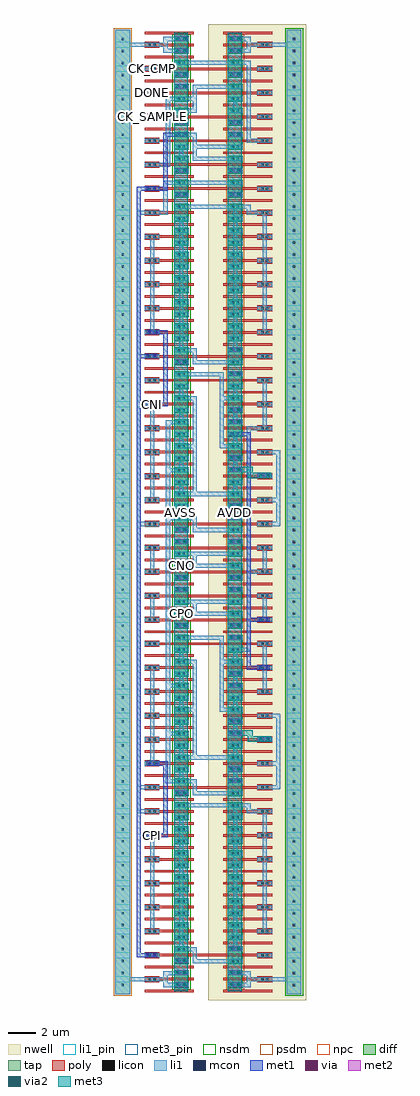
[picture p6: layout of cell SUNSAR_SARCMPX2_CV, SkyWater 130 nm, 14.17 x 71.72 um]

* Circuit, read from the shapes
.subckt SUNSAR_SARCMPX2_CV AVDD AVSS CK_CMP CK_SAMPLE CNI CNO CPI CPO DONE
XM1 AVSS AVSS AVSS AVSS sky130_fd_pr__nfet_01v8 w=1.08 l=0.18 m=2
XM2 SUNSAR_SARKICKHX1_CV_4/SUNSAR_NCHDL_10/D SUNSAR_IVX1_CV_22/A AVSS AVSS sky130_fd_pr__nfet_01v8 w=1.08 l=0.18
XM3 SUNSAR_SARKICKHX1_CV_4/SUNSAR_NCHDL_10/D CPI SUNSAR_SARKICKHX1_CV_4/SUNSAR_NCHDL_10/D AVSS sky130_fd_pr__nfet_01v8 w=1.08 l=0.18 m=5
XM4 AVDD SUNSAR_SARCMPHX1_CV_2/CK SUNSAR_SARKICKHX1_CV_4/SUNSAR_NCHDL_10/D AVSS sky130_fd_pr__nfet_01v8 w=1.08 l=0.18
XM5 SUNSAR_SARCMPHX1_CV_2/N1 SUNSAR_SARCMPHX1_CV_2/CK AVSS AVSS sky130_fd_pr__nfet_01v8 w=1.08 l=0.18 m=2
XM6 SUNSAR_SARCMPHX1_CV_2/N2 CPI SUNSAR_SARCMPHX1_CV_2/N1 AVSS sky130_fd_pr__nfet_01v8 w=1.08 l=0.18 m=5
XM7 SUNSAR_IVX2_CV_1/A SUNSAR_IVX2_CV_0/A SUNSAR_SARCMPHX1_CV_2/N2 AVSS sky130_fd_pr__nfet_01v8 w=1.08 l=0.18
XM8 CPO SUNSAR_IVX2_CV_0/A AVSS AVSS sky130_fd_pr__nfet_01v8 w=1.08 l=0.18 m=2
XM9 CNO SUNSAR_IVX2_CV_1/A AVSS AVSS sky130_fd_pr__nfet_01v8 w=1.08 l=0.18 m=2
XM10 SUNSAR_SARCMPHX1_CV_3/N2 CNI SUNSAR_SARCMPHX1_CV_2/N1 AVSS sky130_fd_pr__nfet_01v8 w=1.08 l=0.18 m=5
XM11 SUNSAR_IVX2_CV_0/A SUNSAR_IVX2_CV_1/A SUNSAR_SARCMPHX1_CV_3/N2 AVSS sky130_fd_pr__nfet_01v8 w=1.08 l=0.18
XM12 SUNSAR_SARKICKHX1_CV_5/SUNSAR_NCHDL_10/D SUNSAR_IVX1_CV_22/A AVSS AVSS sky130_fd_pr__nfet_01v8 w=1.08 l=0.18
XM13 SUNSAR_SARKICKHX1_CV_5/SUNSAR_NCHDL_10/D CNI SUNSAR_SARKICKHX1_CV_5/SUNSAR_NCHDL_10/D AVSS sky130_fd_pr__nfet_01v8 w=1.08 l=0.18 m=5
XM14 AVDD SUNSAR_SARCMPHX1_CV_2/CK SUNSAR_SARKICKHX1_CV_5/SUNSAR_NCHDL_10/D AVSS sky130_fd_pr__nfet_01v8 w=1.08 l=0.18
XM15 SUNSAR_SARCMPHX1_CV_2/CK SUNSAR_IVX1_CV_22/A AVSS AVSS sky130_fd_pr__nfet_01v8 w=1.08 l=0.18
XM16 SUNSAR_NDX1_CV_6/SUNSAR_NCHDL_0/D SUNSAR_NDX1_CV_6/A AVSS AVSS sky130_fd_pr__nfet_01v8 w=1.08 l=0.18
XM17 SUNSAR_IVX1_CV_22/A SUNSAR_NDX1_CV_6/B SUNSAR_NDX1_CV_6/SUNSAR_NCHDL_0/D AVSS sky130_fd_pr__nfet_01v8 w=1.08 l=0.18
XM18 SUNSAR_NDX1_CV_6/A CK_SAMPLE AVSS AVSS sky130_fd_pr__nfet_01v8 w=1.08 l=0.18
XM19 AVSS DONE SUNSAR_NDX1_CV_6/A AVSS sky130_fd_pr__nfet_01v8 w=1.08 l=0.18
XM20 SUNSAR_NDX1_CV_6/B CK_CMP AVSS AVSS sky130_fd_pr__nfet_01v8 w=1.08 l=0.18
XM21 AVDD AVDD AVDD AVDD sky130_fd_pr__pfet_01v8 w=1.08 l=0.18 m=14
XM22 AVDD SUNSAR_IVX1_CV_22/A SUNSAR_SARKICKHX1_CV_4/SUNSAR_NCHDL_10/D AVDD sky130_fd_pr__pfet_01v8 w=1.08 l=0.18
XM23 AVDD SUNSAR_SARCMPHX1_CV_2/CK SUNSAR_SARCMPHX1_CV_2/N1 AVDD sky130_fd_pr__pfet_01v8 w=1.08 l=0.18 m=2
XM24 SUNSAR_SARCMPHX1_CV_2/N2 SUNSAR_SARCMPHX1_CV_2/CK AVDD AVDD sky130_fd_pr__pfet_01v8 w=1.08 l=0.18
XM25 AVDD AVDD SUNSAR_SARCMPHX1_CV_2/N2 AVDD sky130_fd_pr__pfet_01v8 w=1.08 l=0.18
XM26 SUNSAR_IVX2_CV_1/A SUNSAR_SARCMPHX1_CV_2/CK AVDD AVDD sky130_fd_pr__pfet_01v8 w=1.08 l=0.18
XM27 AVDD SUNSAR_IVX2_CV_0/A SUNSAR_IVX2_CV_1/A AVDD sky130_fd_pr__pfet_01v8 w=1.08 l=0.18 m=3
XM28 CPO SUNSAR_IVX2_CV_0/A AVDD AVDD sky130_fd_pr__pfet_01v8 w=1.08 l=0.18 m=2
XM29 CNO SUNSAR_IVX2_CV_1/A AVDD AVDD sky130_fd_pr__pfet_01v8 w=1.08 l=0.18 m=2
XM30 SUNSAR_SARCMPHX1_CV_3/N2 SUNSAR_SARCMPHX1_CV_2/CK AVDD AVDD sky130_fd_pr__pfet_01v8 w=1.08 l=0.18
XM31 AVDD AVDD SUNSAR_SARCMPHX1_CV_3/N2 AVDD sky130_fd_pr__pfet_01v8 w=1.08 l=0.18
XM32 SUNSAR_IVX2_CV_0/A SUNSAR_SARCMPHX1_CV_2/CK AVDD AVDD sky130_fd_pr__pfet_01v8 w=1.08 l=0.18
XM33 AVDD SUNSAR_IVX2_CV_1/A SUNSAR_IVX2_CV_0/A AVDD sky130_fd_pr__pfet_01v8 w=1.08 l=0.18 m=3
XM34 AVDD SUNSAR_IVX1_CV_22/A SUNSAR_SARKICKHX1_CV_5/SUNSAR_NCHDL_10/D AVDD sky130_fd_pr__pfet_01v8 w=1.08 l=0.18
XM35 SUNSAR_SARCMPHX1_CV_2/CK SUNSAR_IVX1_CV_22/A AVDD AVDD sky130_fd_pr__pfet_01v8 w=1.08 l=0.18
XM36 SUNSAR_IVX1_CV_22/A SUNSAR_NDX1_CV_6/A AVDD AVDD sky130_fd_pr__pfet_01v8 w=1.08 l=0.18
XM37 AVDD SUNSAR_NDX1_CV_6/B SUNSAR_IVX1_CV_22/A AVDD sky130_fd_pr__pfet_01v8 w=1.08 l=0.18
XM38 SUNSAR_NRX1_CV_7/SUNSAR_PCHDL_2/D CK_SAMPLE AVDD AVDD sky130_fd_pr__pfet_01v8 w=1.08 l=0.18
XM39 SUNSAR_NDX1_CV_6/A DONE SUNSAR_NRX1_CV_7/SUNSAR_PCHDL_2/D AVDD sky130_fd_pr__pfet_01v8 w=1.08 l=0.18
XM40 SUNSAR_NDX1_CV_6/B CK_CMP AVDD AVDD sky130_fd_pr__pfet_01v8 w=1.08 l=0.18
.ends

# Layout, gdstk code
import gdstk
lib = gdstk.Library(unit=1e-6, precision=1e-09)
def R(c, l, rs):  # rectangles x0, y0, x1, y1
    for r in rs: c.add(gdstk.rectangle(r[:2], r[2:], *l))
def A(c, l, x, y, w, h, nx, ny, dx, dy):  # array of equal rectangles
    R(c, l, [(x+i*dx, y+j*dy, x+i*dx+w, y+j*dy+h) for i in range(nx) for j in range(ny)])
nwell = (64, 20)
diff = (65, 20)
tap = (65, 44)
poly = (66, 20)
licon = (66, 44)
li1_pin = (67, 16)
li1 = (67, 20)
mcon = (67, 44)
met1 = (68, 20)
via = (68, 44)
met2 = (69, 20)
via2 = (69, 44)
met3_pin = (70, 16)
met3 = (70, 20)
nsdm = (93, 44)
psdm = (94, 20)
npc = (95, 20)

sunsar_cut_m1m4_2x1 = lib.new_cell('SUNSAR_cut_M1M4_2x1')
R(sunsar_cut_m1m4_2x1, li1, [(0,0,0.92,0.34)])
R(sunsar_cut_m1m4_2x1, mcon, [(0.115,0.085,0.285,0.255), (0.635,0.085,0.805,0.255)])
R(sunsar_cut_m1m4_2x1, met1, [(0,0,0.92,0.34)])
R(sunsar_cut_m1m4_2x1, via, [(0.125,0.095,0.275,0.245), (0.645,0.095,0.795,0.245)])
R(sunsar_cut_m1m4_2x1, met2, [(0,0,1,0.38)])
R(sunsar_cut_m1m4_2x1, via2, [(0.12,0.09,0.32,0.29), (0.68,0.09,0.88,0.29)])
R(sunsar_cut_m1m4_2x1, met3, [(0,0,1,0.38)])

sunsar_pchdl = lib.new_cell('SUNSAR_PCHDL')
R(sunsar_pchdl, nwell, [(0,-0.66,7.2,2.42)])
R(sunsar_pchdl, diff, [(1.44,0.22,2.52,1.54)])
R(sunsar_pchdl, tap, [(5.76,-0.22,6.84,1.98)])
A(sunsar_pchdl, poly, 1.08, -0.09, 3.6, 0.18, 1, 3, 0, 0.88)
R(sunsar_pchdl, poly, [(3.6,0.66,4.68,0.79), (3.6,0.97,4.68,1.1)])
R(sunsar_pchdl, licon, [(1.725,0.355,1.895,0.525), (2.065,0.355,2.235,0.525), (6.215,0.355,6.385,0.525), (3.885,0.795,4.055,0.965), (4.225,0.795,4.395,0.965), (1.725,1.235,1.895,1.405), (2.065,1.235,2.235,1.405), (6.215,1.235,6.385,1.405)])
R(sunsar_pchdl, li1_pin, [(1.44,0.29,2.52,0.59), (5.76,0.66,6.84,1.1), (3.6,0.73,4.68,1.03), (1.44,1.17,2.52,1.47)])
R(sunsar_pchdl, li1, [(5.76,-0.22,6.84,1.98), (1.44,0.29,2.52,0.59), (3.6,0.73,4.68,1.03), (1.44,1.17,2.52,1.47)])
R(sunsar_pchdl, nsdm, [(5.635,-0.345,6.965,2.105)])
R(sunsar_pchdl, psdm, [(1.315,0.095,2.645,1.665)])
R(sunsar_pchdl, npc, [(3.785,0.695,4.495,1.065)])
sunsar_pchdl.add(gdstk.Label('D', (1.98,1.32), layer=67, texttype=5))
sunsar_pchdl.add(gdstk.Label('G', (4.14,0.88), layer=67, texttype=5))
sunsar_pchdl.add(gdstk.Label('S', (1.98,0.44), layer=67, texttype=5))
sunsar_pchdl.add(gdstk.Label('B', (6.3,0.88), layer=67, texttype=5))

sunsar_nchdl = lib.new_cell('SUNSAR_NCHDL')
R(sunsar_nchdl, diff, [(3.78,0.22,4.86,1.54)])
R(sunsar_nchdl, tap, [(-0.54,-0.22,0.54,1.98)])
A(sunsar_nchdl, poly, 1.62, -0.09, 3.6, 0.18, 1, 3, 0, 0.88)
R(sunsar_nchdl, poly, [(1.62,0.66,2.7,0.79), (1.62,0.97,2.7,1.1)])
R(sunsar_nchdl, licon, [(-0.085,0.355,0.085,0.525), (4.065,0.355,4.235,0.525), (4.405,0.355,4.575,0.525), (1.905,0.795,2.075,0.965), (2.245,0.795,2.415,0.965), (-0.085,1.235,0.085,1.405), (4.065,1.235,4.235,1.405), (4.405,1.235,4.575,1.405)])
R(sunsar_nchdl, li1_pin, [(3.78,0.29,4.86,0.59), (-0.54,0.66,0.54,1.1), (1.62,0.73,2.7,1.03), (3.78,1.17,4.86,1.47)])
R(sunsar_nchdl, li1, [(-0.54,-0.22,0.54,1.98), (3.78,0.29,4.86,0.59), (1.62,0.73,2.7,1.03), (3.78,1.17,4.86,1.47)])
R(sunsar_nchdl, nsdm, [(3.655,0.095,4.985,1.665)])
R(sunsar_nchdl, psdm, [(-0.665,-0.345,0.665,2.105)])
R(sunsar_nchdl, npc, [(1.805,0.695,2.515,1.065)])
sunsar_nchdl.add(gdstk.Label('D', (4.32,1.32), layer=67, texttype=5))
sunsar_nchdl.add(gdstk.Label('G', (2.16,0.88), layer=67, texttype=5))
sunsar_nchdl.add(gdstk.Label('S', (4.32,0.44), layer=67, texttype=5))
sunsar_nchdl.add(gdstk.Label('B', (0,0.88), layer=67, texttype=5))

sunsar_ivx2_cv = lib.new_cell('SUNSAR_IVX2_CV')
R(sunsar_ivx2_cv, poly, [(1.62,0.79,10.98,0.97), (1.62,2.55,10.98,2.73)])
R(sunsar_ivx2_cv, li1_pin, [(-0.54,0.66,0.54,1.1), (12.06,0.66,13.14,1.1), (1.62,0.73,2.7,1.03), (3.78,1.17,4.86,1.47)])
R(sunsar_ivx2_cv, li1, [(-0.54,0.66,0.54,1.1), (12.06,0.66,13.14,1.1), (1.62,0.73,2.7,1.03), (10.29,0.73,10.59,2.79), (2.01,1.03,2.31,2.79), (3.78,1.17,8.28,1.47), (5.16,1.47,5.46,2.05), (4.32,2.05,8.28,2.35)])
R(sunsar_ivx2_cv, met3_pin, [(3.78,0,4.78,3.52), (7.74,0,8.74,3.52)])
R(sunsar_ivx2_cv, met3, [(3.78,0,4.78,3.52), (7.74,0,8.74,3.52)])
R(sunsar_ivx2_cv, nsdm, [(3.655,1.665,4.985,1.855)])
R(sunsar_ivx2_cv, psdm, [(7.615,1.665,8.945,1.855)])
sunsar_ivx2_cv.add(gdstk.Reference(sunsar_cut_m1m4_2x1, (3.78,2.93)))
sunsar_ivx2_cv.add(gdstk.Reference(sunsar_cut_m1m4_2x1, (3.78,0.29)))
sunsar_ivx2_cv.add(gdstk.Reference(sunsar_cut_m1m4_2x1, (7.74,2.93)))
sunsar_ivx2_cv.add(gdstk.Reference(sunsar_cut_m1m4_2x1, (7.74,0.29)))
sunsar_ivx2_cv.add(gdstk.Reference(sunsar_pchdl, (6.3,1.76)))
sunsar_ivx2_cv.add(gdstk.Reference(sunsar_pchdl, (6.3,0)))
sunsar_ivx2_cv.add(gdstk.Reference(sunsar_nchdl, (0,1.76)))
sunsar_ivx2_cv.add(gdstk.Reference(sunsar_nchdl, (0,0)))
sunsar_ivx2_cv.add(gdstk.Label('A', (2.16,0.88), layer=67, texttype=5))
sunsar_ivx2_cv.add(gdstk.Label('Y', (4.32,1.32), layer=67, texttype=5))
sunsar_ivx2_cv.add(gdstk.Label('BULKP', (12.6,0.88), layer=67, texttype=5))
sunsar_ivx2_cv.add(gdstk.Label('BULKN', (0,0.88), layer=67, texttype=5))
sunsar_ivx2_cv.add(gdstk.Label('AVDD', (8.24,1.76), layer=70, texttype=5))
sunsar_ivx2_cv.add(gdstk.Label('AVSS', (4.28,1.76), layer=70, texttype=5))

sunsar_sarcmphx1_cv = lib.new_cell('SUNSAR_SARCMPHX1_CV')
R(sunsar_sarcmphx1_cv, poly, [(1.62,0.79,10.98,0.97), (1.62,11.35,10.98,11.53)])
A(sunsar_sarcmphx1_cv, li1_pin, 3.78, 8.21, 1.08, 0.3, 1, 3, 0, 1.76)
R(sunsar_sarcmphx1_cv, li1_pin, [(-0.54,0.66,0.54,1.1), (12.06,0.66,13.14,1.1), (1.62,0.73,2.7,1.03), (1.62,2.49,2.7,2.79), (1.62,11.29,2.7,11.59)])
A(sunsar_sarcmphx1_cv, li1, 8.13, 1.17, 0.3, 1.18, 1, 3, 0, 3.52)
A(sunsar_sarcmphx1_cv, li1, 4.17, 1.47, 0.3, 0.88, 1, 6, 0, 1.76)
A(sunsar_sarcmphx1_cv, li1, 8.13, 3.23, 0.3, 0.88, 1, 3, 0, 3.52)
R(sunsar_sarcmphx1_cv, li1, [(5.16,0.29,8.28,0.59), (5.16,0.59,5.46,1.17), (-0.54,0.66,0.54,1.1), (12.06,0.66,13.14,1.1), (1.62,0.73,2.7,1.03), (10.44,0.73,11.58,1.03), (11.28,1.03,11.58,2.49), (3.18,1.17,5.46,1.47), (3.18,1.47,3.48,4.69), (1.62,2.49,2.7,2.79), (10.44,2.49,11.58,2.79), (2.01,2.79,2.31,9.83), (11.28,2.79,11.58,6.01), (4.17,2.93,8.43,3.23), (5.16,3.23,5.46,6.45), (3.18,4.69,4.47,4.99), (3.18,4.99,3.48,8.21), (10.44,6.01,11.58,6.31), (4.17,6.45,5.46,6.75), (7.14,6.45,8.43,6.75), (5.16,6.75,5.46,9.97), (7.14,6.75,7.44,9.97), (10.29,7.77,10.59,11.59), (3.18,8.21,4.86,8.51), (3.78,9.97,5.46,10.27), (7.14,9.97,8.43,10.27), (7.14,10.27,7.44,11.73), (1.62,11.29,2.7,11.59), (3.78,11.73,7.44,12.03)])
R(sunsar_sarcmphx1_cv, met3_pin, [(3.78,0,4.78,12.32), (7.74,0,8.74,12.32)])
R(sunsar_sarcmphx1_cv, met3, [(3.78,0,4.78,12.32), (7.74,0,8.74,4.69), (9.18,4.25,10.44,4.63), (9.18,4.63,9.56,4.69), (7.74,4.69,9.56,5.07), (7.74,5.07,8.74,12.32)])
A(sunsar_sarcmphx1_cv, nsdm, 3.655, 1.665, 1.33, 0.19, 1, 6, 0, 1.76)
A(sunsar_sarcmphx1_cv, psdm, 7.615, 1.665, 1.33, 0.19, 1, 6, 0, 1.76)
sunsar_sarcmphx1_cv.add(gdstk.Reference(sunsar_cut_m1m4_2x1, (3.78,0.29)))
sunsar_sarcmphx1_cv.add(gdstk.Reference(sunsar_cut_m1m4_2x1, (7.74,11.73)))
sunsar_sarcmphx1_cv.add(gdstk.Reference(sunsar_cut_m1m4_2x1, (7.74,9.09)))
sunsar_sarcmphx1_cv.add(gdstk.Reference(sunsar_cut_m1m4_2x1, (7.74,8.21)))
sunsar_sarcmphx1_cv.add(gdstk.Reference(sunsar_cut_m1m4_2x1, (7.74,5.57)))
sunsar_sarcmphx1_cv.add(gdstk.Reference(sunsar_cut_m1m4_2x1, (7.74,4.69)))
sunsar_sarcmphx1_cv.add(gdstk.Reference(sunsar_cut_m1m4_2x1, (7.74,2.05)))
sunsar_sarcmphx1_cv.add(gdstk.Reference(sunsar_cut_m1m4_2x1, (7.74,1.17)))
sunsar_sarcmphx1_cv.add(gdstk.Reference(sunsar_cut_m1m4_2x1, (9.9,4.25)))
sunsar_sarcmphx1_cv.add(gdstk.Reference(sunsar_cut_m1m4_2x1, (7.74,4.69)))
sunsar_sarcmphx1_cv.add(gdstk.Reference(sunsar_pchdl, (6.3,10.56)))
sunsar_sarcmphx1_cv.add(gdstk.Reference(sunsar_pchdl, (6.3,8.8)))
sunsar_sarcmphx1_cv.add(gdstk.Reference(sunsar_pchdl, (6.3,7.04)))
sunsar_sarcmphx1_cv.add(gdstk.Reference(sunsar_pchdl, (6.3,5.28)))
sunsar_sarcmphx1_cv.add(gdstk.Reference(sunsar_pchdl, (6.3,3.52)))
sunsar_sarcmphx1_cv.add(gdstk.Reference(sunsar_pchdl, (6.3,1.76)))
sunsar_sarcmphx1_cv.add(gdstk.Reference(sunsar_pchdl, (6.3,0)))
sunsar_sarcmphx1_cv.add(gdstk.Reference(sunsar_nchdl, (0,10.56)))
sunsar_sarcmphx1_cv.add(gdstk.Reference(sunsar_nchdl, (0,8.8)))
sunsar_sarcmphx1_cv.add(gdstk.Reference(sunsar_nchdl, (0,7.04)))
sunsar_sarcmphx1_cv.add(gdstk.Reference(sunsar_nchdl, (0,5.28)))
sunsar_sarcmphx1_cv.add(gdstk.Reference(sunsar_nchdl, (0,3.52)))
sunsar_sarcmphx1_cv.add(gdstk.Reference(sunsar_nchdl, (0,1.76)))
sunsar_sarcmphx1_cv.add(gdstk.Reference(sunsar_nchdl, (0,0)))
sunsar_sarcmphx1_cv.add(gdstk.Label('CI', (2.16,2.64), layer=67, texttype=5))
sunsar_sarcmphx1_cv.add(gdstk.Label('CK', (2.16,0.88), layer=67, texttype=5))
sunsar_sarcmphx1_cv.add(gdstk.Label('CO', (4.32,11.88), layer=67, texttype=5))
sunsar_sarcmphx1_cv.add(gdstk.Label('VMR', (2.16,11.44), layer=67, texttype=5))
sunsar_sarcmphx1_cv.add(gdstk.Label('N1', (4.32,8.36), layer=67, texttype=5))
sunsar_sarcmphx1_cv.add(gdstk.Label('N2', (4.32,10.12), layer=67, texttype=5))
sunsar_sarcmphx1_cv.add(gdstk.Label('BULKP', (12.6,0.88), layer=67, texttype=5))
sunsar_sarcmphx1_cv.add(gdstk.Label('BULKN', (0,0.88), layer=67, texttype=5))
sunsar_sarcmphx1_cv.add(gdstk.Label('AVDD', (8.24,6.16), layer=70, texttype=5))
sunsar_sarcmphx1_cv.add(gdstk.Label('AVSS', (4.28,6.16), layer=70, texttype=5))

sunsar_sarkickhx1_cv = lib.new_cell('SUNSAR_SARKICKHX1_CV')
R(sunsar_sarkickhx1_cv, poly, [(1.62,0.79,10.98,0.97)])
R(sunsar_sarkickhx1_cv, li1_pin, [(-0.54,0.66,0.54,1.1), (12.06,0.66,13.14,1.1), (1.62,0.73,2.7,1.03), (1.62,2.49,2.7,2.79), (1.62,11.29,2.7,11.59)])
R(sunsar_sarkickhx1_cv, li1, [(5.16,0.29,8.28,0.59), (5.16,0.59,5.46,1.17), (-0.54,0.66,0.54,1.1), (12.06,0.66,13.14,1.1), (1.62,0.73,2.7,1.03), (4.17,1.17,5.46,1.47), (8.13,1.17,8.43,11.73), (4.17,1.47,4.47,11.15), (1.62,2.49,2.7,2.79), (10.29,2.49,10.59,11.29), (2.01,2.79,2.31,9.83), (1.62,11.29,2.7,11.59), (9.12,11.29,10.59,11.59), (9.12,11.59,9.42,11.73), (3.78,11.73,9.42,12.03)])
R(sunsar_sarkickhx1_cv, met3_pin, [(3.78,0,4.78,12.32), (7.74,0,8.74,12.32)])
R(sunsar_sarkickhx1_cv, met3, [(3.78,0,4.78,12.32), (7.74,0,8.74,12.32)])
A(sunsar_sarkickhx1_cv, nsdm, 3.655, 1.665, 1.33, 0.19, 1, 6, 0, 1.76)
A(sunsar_sarkickhx1_cv, psdm, 7.615, 1.665, 1.33, 0.19, 1, 6, 0, 1.76)
sunsar_sarkickhx1_cv.add(gdstk.Reference(sunsar_cut_m1m4_2x1, (3.78,0.29)))
sunsar_sarkickhx1_cv.add(gdstk.Reference(sunsar_cut_m1m4_2x1, (7.74,1.17)))
sunsar_sarkickhx1_cv.add(gdstk.Reference(sunsar_pchdl, (6.3,10.56)))
sunsar_sarkickhx1_cv.add(gdstk.Reference(sunsar_pchdl, (6.3,8.8)))
sunsar_sarkickhx1_cv.add(gdstk.Reference(sunsar_pchdl, (6.3,7.04)))
sunsar_sarkickhx1_cv.add(gdstk.Reference(sunsar_pchdl, (6.3,5.28)))
sunsar_sarkickhx1_cv.add(gdstk.Reference(sunsar_pchdl, (6.3,3.52)))
sunsar_sarkickhx1_cv.add(gdstk.Reference(sunsar_pchdl, (6.3,1.76)))
sunsar_sarkickhx1_cv.add(gdstk.Reference(sunsar_pchdl, (6.3,0)))
sunsar_sarkickhx1_cv.add(gdstk.Reference(sunsar_nchdl, (0,10.56)))
sunsar_sarkickhx1_cv.add(gdstk.Reference(sunsar_nchdl, (0,8.8)))
sunsar_sarkickhx1_cv.add(gdstk.Reference(sunsar_nchdl, (0,7.04)))
sunsar_sarkickhx1_cv.add(gdstk.Reference(sunsar_nchdl, (0,5.28)))
sunsar_sarkickhx1_cv.add(gdstk.Reference(sunsar_nchdl, (0,3.52)))
sunsar_sarkickhx1_cv.add(gdstk.Reference(sunsar_nchdl, (0,1.76)))
sunsar_sarkickhx1_cv.add(gdstk.Reference(sunsar_nchdl, (0,0)))
sunsar_sarkickhx1_cv.add(gdstk.Label('CI', (2.16,2.64), layer=67, texttype=5))
sunsar_sarkickhx1_cv.add(gdstk.Label('CK', (2.16,11.44), layer=67, texttype=5))
sunsar_sarkickhx1_cv.add(gdstk.Label('CKN', (2.16,0.88), layer=67, texttype=5))
sunsar_sarkickhx1_cv.add(gdstk.Label('BULKP', (12.6,0.88), layer=67, texttype=5))
sunsar_sarkickhx1_cv.add(gdstk.Label('BULKN', (0,0.88), layer=67, texttype=5))
sunsar_sarkickhx1_cv.add(gdstk.Label('AVDD', (8.24,6.16), layer=70, texttype=5))
sunsar_sarkickhx1_cv.add(gdstk.Label('AVSS', (4.28,6.16), layer=70, texttype=5))

sunsar_ndx1_cv = lib.new_cell('SUNSAR_NDX1_CV')
R(sunsar_ndx1_cv, poly, [(1.62,0.79,10.98,0.97), (1.62,2.55,10.98,2.73)])
R(sunsar_ndx1_cv, li1_pin, [(-0.54,0.66,0.54,1.1), (12.06,0.66,13.14,1.1), (1.62,0.73,2.7,1.03), (1.62,2.49,2.7,2.79), (3.78,2.93,4.86,3.23)])
R(sunsar_ndx1_cv, li1, [(-0.54,0.66,0.54,1.1), (12.06,0.66,13.14,1.1), (1.62,0.73,2.7,1.03), (4.17,1.17,4.47,2.35), (5.16,1.17,8.28,1.47), (5.16,1.47,5.46,2.05), (5.16,2.05,8.28,2.35), (5.16,2.35,5.46,2.93), (1.62,2.49,2.7,2.79), (3.78,2.93,5.46,3.23)])
R(sunsar_ndx1_cv, met3_pin, [(3.78,0,4.78,3.52), (7.74,0,8.74,3.52)])
R(sunsar_ndx1_cv, met3, [(3.78,0,4.78,3.52), (7.74,0,8.74,3.52)])
R(sunsar_ndx1_cv, nsdm, [(3.655,1.665,4.985,1.855)])
R(sunsar_ndx1_cv, psdm, [(7.615,1.665,8.945,1.855)])
sunsar_ndx1_cv.add(gdstk.Reference(sunsar_nchdl, (0,0)))
sunsar_ndx1_cv.add(gdstk.Reference(sunsar_nchdl, (0,1.76)))
sunsar_ndx1_cv.add(gdstk.Reference(sunsar_pchdl, (6.3,0)))
sunsar_ndx1_cv.add(gdstk.Reference(sunsar_pchdl, (6.3,1.76)))
sunsar_ndx1_cv.add(gdstk.Reference(sunsar_cut_m1m4_2x1, (7.74,0.29)))
sunsar_ndx1_cv.add(gdstk.Reference(sunsar_cut_m1m4_2x1, (7.74,2.93)))
sunsar_ndx1_cv.add(gdstk.Reference(sunsar_cut_m1m4_2x1, (3.78,0.29)))
sunsar_ndx1_cv.add(gdstk.Label('A', (2.16,0.88), layer=67, texttype=5))
sunsar_ndx1_cv.add(gdstk.Label('B', (2.16,2.64), layer=67, texttype=5))
sunsar_ndx1_cv.add(gdstk.Label('Y', (4.32,3.08), layer=67, texttype=5))
sunsar_ndx1_cv.add(gdstk.Label('BULKP', (12.6,0.88), layer=67, texttype=5))
sunsar_ndx1_cv.add(gdstk.Label('BULKN', (0,0.88), layer=67, texttype=5))
sunsar_ndx1_cv.add(gdstk.Label('AVDD', (8.24,1.76), layer=70, texttype=5))
sunsar_ndx1_cv.add(gdstk.Label('AVSS', (4.28,1.76), layer=70, texttype=5))

sunsar_nrx1_cv = lib.new_cell('SUNSAR_NRX1_CV')
R(sunsar_nrx1_cv, poly, [(1.62,0.79,10.98,0.97), (1.62,2.55,10.98,2.73)])
R(sunsar_nrx1_cv, li1_pin, [(-0.54,0.66,0.54,1.1), (12.06,0.66,13.14,1.1), (1.62,0.73,2.7,1.03), (3.78,2.05,4.86,2.35), (1.62,2.49,2.7,2.79)])
R(sunsar_nrx1_cv, li1, [(-0.54,0.66,0.54,1.1), (12.06,0.66,13.14,1.1), (1.62,0.73,2.7,1.03), (4.32,1.17,5.46,1.47), (8.13,1.17,8.43,2.35), (5.16,1.47,5.46,2.05), (3.78,2.05,5.46,2.35), (5.16,2.35,5.46,2.93), (1.62,2.49,2.7,2.79), (5.16,2.93,8.28,3.23)])
R(sunsar_nrx1_cv, met3_pin, [(3.78,0,4.78,3.52), (7.74,0,8.74,3.52)])
R(sunsar_nrx1_cv, met3, [(3.78,0,4.78,3.52), (7.74,0,8.74,3.52)])
R(sunsar_nrx1_cv, nsdm, [(3.655,1.665,4.985,1.855)])
R(sunsar_nrx1_cv, psdm, [(7.615,1.665,8.945,1.855)])
sunsar_nrx1_cv.add(gdstk.Reference(sunsar_nchdl, (0,0)))
sunsar_nrx1_cv.add(gdstk.Reference(sunsar_nchdl, (0,1.76)))
sunsar_nrx1_cv.add(gdstk.Reference(sunsar_pchdl, (6.3,0)))
sunsar_nrx1_cv.add(gdstk.Reference(sunsar_pchdl, (6.3,1.76)))
sunsar_nrx1_cv.add(gdstk.Reference(sunsar_cut_m1m4_2x1, (7.74,0.29)))
sunsar_nrx1_cv.add(gdstk.Reference(sunsar_cut_m1m4_2x1, (3.78,0.29)))
sunsar_nrx1_cv.add(gdstk.Reference(sunsar_cut_m1m4_2x1, (3.78,2.93)))
sunsar_nrx1_cv.add(gdstk.Label('A', (2.16,0.88), layer=67, texttype=5))
sunsar_nrx1_cv.add(gdstk.Label('B', (2.16,2.64), layer=67, texttype=5))
sunsar_nrx1_cv.add(gdstk.Label('Y', (4.32,2.2), layer=67, texttype=5))
sunsar_nrx1_cv.add(gdstk.Label('BULKP', (12.6,0.88), layer=67, texttype=5))
sunsar_nrx1_cv.add(gdstk.Label('BULKN', (0,0.88), layer=67, texttype=5))
sunsar_nrx1_cv.add(gdstk.Label('AVDD', (8.24,1.76), layer=70, texttype=5))
sunsar_nrx1_cv.add(gdstk.Label('AVSS', (4.28,1.76), layer=70, texttype=5))

sunsar_cut_m1m2_2x1 = lib.new_cell('SUNSAR_cut_M1M2_2x1')
R(sunsar_cut_m1m2_2x1, li1, [(0,0,0.92,0.34)])
R(sunsar_cut_m1m2_2x1, mcon, [(0.115,0.085,0.285,0.255), (0.635,0.085,0.805,0.255)])
R(sunsar_cut_m1m2_2x1, met1, [(0,0,0.92,0.34)])

sunsar_tapcellb_cv = lib.new_cell('SUNSAR_TAPCELLB_CV')
R(sunsar_tapcellb_cv, li1, [(3,0.29,4.32,0.59), (8.28,0.29,9.42,0.59), (3,0.59,3.3,0.73), (9.12,0.59,9.42,0.73), (-0.54,0.73,3.3,1.03), (9.12,0.73,13.14,1.03), (3,1.03,3.3,1.17), (9.12,1.03,9.42,1.17), (3,1.17,4.32,1.47), (8.28,1.17,9.42,1.47)])
R(sunsar_tapcellb_cv, met3_pin, [(3.78,0,4.78,1.76), (7.74,0,8.74,1.76)])
R(sunsar_tapcellb_cv, met3, [(3.78,0,4.78,1.76), (7.74,0,8.74,1.76)])
sunsar_tapcellb_cv.add(gdstk.Reference(sunsar_nchdl, (0,0)))
sunsar_tapcellb_cv.add(gdstk.Reference(sunsar_pchdl, (6.3,0)))
sunsar_tapcellb_cv.add(gdstk.Reference(sunsar_cut_m1m4_2x1, (7.74,1.17)))
sunsar_tapcellb_cv.add(gdstk.Reference(sunsar_cut_m1m4_2x1, (7.74,0.29)))
sunsar_tapcellb_cv.add(gdstk.Reference(sunsar_cut_m1m4_2x1, (3.78,1.17)))
sunsar_tapcellb_cv.add(gdstk.Reference(sunsar_cut_m1m4_2x1, (3.78,0.29)))
sunsar_tapcellb_cv.add(gdstk.Label('AVDD', (8.24,0.88), layer=70, texttype=5))
sunsar_tapcellb_cv.add(gdstk.Label('AVSS', (4.28,0.88), layer=70, texttype=5))

sunsar_ivx1_cv = lib.new_cell('SUNSAR_IVX1_CV')
R(sunsar_ivx1_cv, poly, [(1.62,0.79,10.98,0.97)])
R(sunsar_ivx1_cv, li1_pin, [(-0.54,0.66,0.54,1.1), (12.06,0.66,13.14,1.1), (1.62,0.73,2.7,1.03), (3.78,1.17,4.86,1.47)])
R(sunsar_ivx1_cv, li1, [(-0.54,0.66,0.54,1.1), (12.06,0.66,13.14,1.1), (1.62,0.73,2.7,1.03), (3.78,1.17,8.28,1.47)])
R(sunsar_ivx1_cv, met3_pin, [(3.78,0,4.78,1.76), (7.74,0,8.74,1.76)])
R(sunsar_ivx1_cv, met3, [(3.78,0,4.78,1.76), (7.74,0,8.74,1.76)])
sunsar_ivx1_cv.add(gdstk.Reference(sunsar_nchdl, (0,0)))
sunsar_ivx1_cv.add(gdstk.Reference(sunsar_pchdl, (6.3,0)))
sunsar_ivx1_cv.add(gdstk.Reference(sunsar_cut_m1m4_2x1, (7.74,0.29)))
sunsar_ivx1_cv.add(gdstk.Reference(sunsar_cut_m1m4_2x1, (3.78,0.29)))
sunsar_ivx1_cv.add(gdstk.Label('A', (2.16,0.88), layer=67, texttype=5))
sunsar_ivx1_cv.add(gdstk.Label('Y', (4.32,1.32), layer=67, texttype=5))
sunsar_ivx1_cv.add(gdstk.Label('BULKP', (12.6,0.88), layer=67, texttype=5))
sunsar_ivx1_cv.add(gdstk.Label('BULKN', (0,0.88), layer=67, texttype=5))
sunsar_ivx1_cv.add(gdstk.Label('AVDD', (8.24,0.88), layer=70, texttype=5))
sunsar_ivx1_cv.add(gdstk.Label('AVSS', (4.28,0.88), layer=70, texttype=5))

sunsar_sarcmpx2_cv = lib.new_cell('SUNSAR_SARCMPX2_CV')
A(sunsar_sarcmpx2_cv, li1_pin, 1.62, 64.09, 1.08, 0.3, 1, 3, 0, 1.76)
R(sunsar_sarcmpx2_cv, li1_pin, [(1.62,11.29,2.7,11.59), (3.78,27.57,4.86,27.87), (3.78,31.09,4.86,31.39), (1.62,42.97,2.7,43.27)])
A(sunsar_sarcmpx2_cv, li1, 1.62, 64.09, 1.08, 0.3, 1, 3, 0, 1.76)
R(sunsar_sarcmpx2_cv, li1, [(1.62,11.29,2.7,11.59), (1.02,13.05,2.16,13.35), (1.02,13.35,1.32,14.81), (1.02,14.81,2.16,15.11), (1.02,15.11,1.32,34.17), (3.18,22.29,4.32,22.59), (3.18,22.59,3.48,41.65), (8.28,24.93,9.42,25.23), (9.12,25.23,9.42,30.65), (3.78,27.57,4.86,27.87), (9.12,30.65,10.44,30.95), (9.12,30.95,9.42,41.21), (3.78,31.09,4.86,31.39), (1.02,34.17,2.16,34.47), (1.02,34.47,1.32,57.05), (9.12,41.21,10.44,41.51), (3.18,41.65,4.32,41.95), (1.62,42.97,2.7,43.27), (1.02,57.05,3.3,57.35), (3,57.35,3.3,59.25), (3,59.25,4.32,59.55), (2.16,60.57,3.48,60.87), (3.18,60.87,3.48,65.41), (9.12,62.33,10.44,62.63), (9.12,62.63,9.42,68.05), (3.18,65.41,4.32,65.71), (8.28,68.05,9.42,68.35)])
R(sunsar_sarcmpx2_cv, met1, [(1.02,2.49,2.16,2.79), (1.02,2.79,1.32,46.49), (2.16,11.29,3.3,11.59), (3,11.59,3.3,16.57), (2.16,16.57,3.3,16.87), (9.12,23.61,10.44,23.91), (9.12,23.91,9.42,27.13), (9.12,27.13,10.44,27.43), (9.12,27.43,9.42,40.77), (8.28,40.77,9.42,41.07), (2.16,42.97,3.3,43.27), (3,43.27,3.3,48.25), (1.02,46.49,2.16,46.79), (1.02,46.79,1.32,58.81), (2.16,48.25,3.3,48.55), (1.02,58.81,3.3,59.11), (3,59.11,3.3,62.77), (3,62.77,4.32,63.07)])
R(sunsar_sarcmpx2_cv, met3_pin, [(3.78,0,4.78,70.4), (7.74,0,8.74,70.4)])
R(sunsar_sarcmpx2_cv, met3, [(3.78,0,4.78,70.4), (7.74,0,8.74,70.4)])
A(sunsar_sarcmpx2_cv, nsdm, 3.655, 1.665, 1.33, 0.19, 1, 3, 0, 12.32)
A(sunsar_sarcmpx2_cv, nsdm, 3.655, 33.345, 1.33, 0.19, 1, 3, 0, 12.32)
A(sunsar_sarcmpx2_cv, nsdm, 3.655, 59.745, 1.33, 0.19, 1, 3, 0, 3.52)
R(sunsar_sarcmpx2_cv, nsdm, [(3.655,29.825,4.985,30.015), (3.655,68.545,4.985,68.735)])
A(sunsar_sarcmpx2_cv, psdm, 7.615, 1.665, 1.33, 0.19, 1, 3, 0, 12.32)
A(sunsar_sarcmpx2_cv, psdm, 7.615, 33.345, 1.33, 0.19, 1, 3, 0, 12.32)
A(sunsar_sarcmpx2_cv, psdm, 7.615, 59.745, 1.33, 0.19, 1, 3, 0, 3.52)
R(sunsar_sarcmpx2_cv, psdm, [(7.615,29.825,8.945,30.015), (7.615,68.545,8.945,68.735)])
sunsar_sarcmpx2_cv.add(gdstk.Reference(sunsar_ivx2_cv, (0,26.4)))
sunsar_sarcmpx2_cv.add(gdstk.Reference(sunsar_ivx2_cv, (0,29.92)))
sunsar_sarcmpx2_cv.add(gdstk.Reference(sunsar_sarcmphx1_cv, (0,14.08)))
sunsar_sarcmpx2_cv.add(gdstk.Reference(sunsar_sarcmphx1_cv, (0,33.44)))
sunsar_sarcmpx2_cv.add(gdstk.Reference(sunsar_sarkickhx1_cv, (0,1.76)))
sunsar_sarcmpx2_cv.add(gdstk.Reference(sunsar_sarkickhx1_cv, (0,45.76)))
sunsar_sarcmpx2_cv.add(gdstk.Reference(sunsar_ndx1_cv, (0,59.84)))
sunsar_sarcmpx2_cv.add(gdstk.Reference(sunsar_nrx1_cv, (0,63.36)))
sunsar_sarcmpx2_cv.add(gdstk.Reference(sunsar_cut_m1m2_2x1, (3.78,62.77)))
sunsar_sarcmpx2_cv.add(gdstk.Reference(sunsar_cut_m1m2_2x1, (1.62,58.81)))
sunsar_sarcmpx2_cv.add(gdstk.Reference(sunsar_cut_m1m2_2x1, (1.62,58.81)))
sunsar_sarcmpx2_cv.add(gdstk.Reference(sunsar_cut_m1m2_2x1, (1.62,46.49)))
sunsar_sarcmpx2_cv.add(gdstk.Reference(sunsar_cut_m1m2_2x1, (1.62,2.49)))
sunsar_sarcmpx2_cv.add(gdstk.Reference(sunsar_cut_m1m2_2x1, (1.78,48.25)))
sunsar_sarcmpx2_cv.add(gdstk.Reference(sunsar_cut_m1m2_2x1, (1.78,42.97)))
sunsar_sarcmpx2_cv.add(gdstk.Reference(sunsar_cut_m1m2_2x1, (1.78,16.57)))
sunsar_sarcmpx2_cv.add(gdstk.Reference(sunsar_cut_m1m2_2x1, (1.78,11.29)))
sunsar_sarcmpx2_cv.add(gdstk.Reference(sunsar_cut_m1m2_2x1, (9.9,27.13)))
sunsar_sarcmpx2_cv.add(gdstk.Reference(sunsar_cut_m1m2_2x1, (9.9,23.61)))
sunsar_sarcmpx2_cv.add(gdstk.Reference(sunsar_cut_m1m2_2x1, (7.74,40.77)))
sunsar_sarcmpx2_cv.add(gdstk.Reference(sunsar_tapcellb_cv, (0,68.64)))
sunsar_sarcmpx2_cv.add(gdstk.Reference(sunsar_ivx1_cv, (0,66.88)))
sunsar_sarcmpx2_cv.add(gdstk.Reference(sunsar_ivx1_cv, (0,58.08)))
sunsar_sarcmpx2_cv.add(gdstk.Reference(sunsar_tapcellb_cv, (0,0)))
sunsar_sarcmpx2_cv.add(gdstk.Label('CPI', (2.16,11.44), layer=67, texttype=5))
sunsar_sarcmpx2_cv.add(gdstk.Label('CNI', (2.16,43.12), layer=67, texttype=5))
sunsar_sarcmpx2_cv.add(gdstk.Label('CPO', (4.32,27.72), layer=67, texttype=5))
sunsar_sarcmpx2_cv.add(gdstk.Label('CNO', (4.32,31.24), layer=67, texttype=5))
sunsar_sarcmpx2_cv.add(gdstk.Label('CK_CMP', (2.16,67.76), layer=67, texttype=5))
sunsar_sarcmpx2_cv.add(gdstk.Label('CK_SAMPLE', (2.16,64.24), layer=67, texttype=5))
sunsar_sarcmpx2_cv.add(gdstk.Label('DONE', (2.16,66), layer=67, texttype=5))
sunsar_sarcmpx2_cv.add(gdstk.Label('AVDD', (8.24,35.2), layer=70, texttype=5))
sunsar_sarcmpx2_cv.add(gdstk.Label('AVSS', (4.28,35.2), layer=70, texttype=5))

lib.write_gds('SUNSAR_SARCMPX2_CV.gds')
